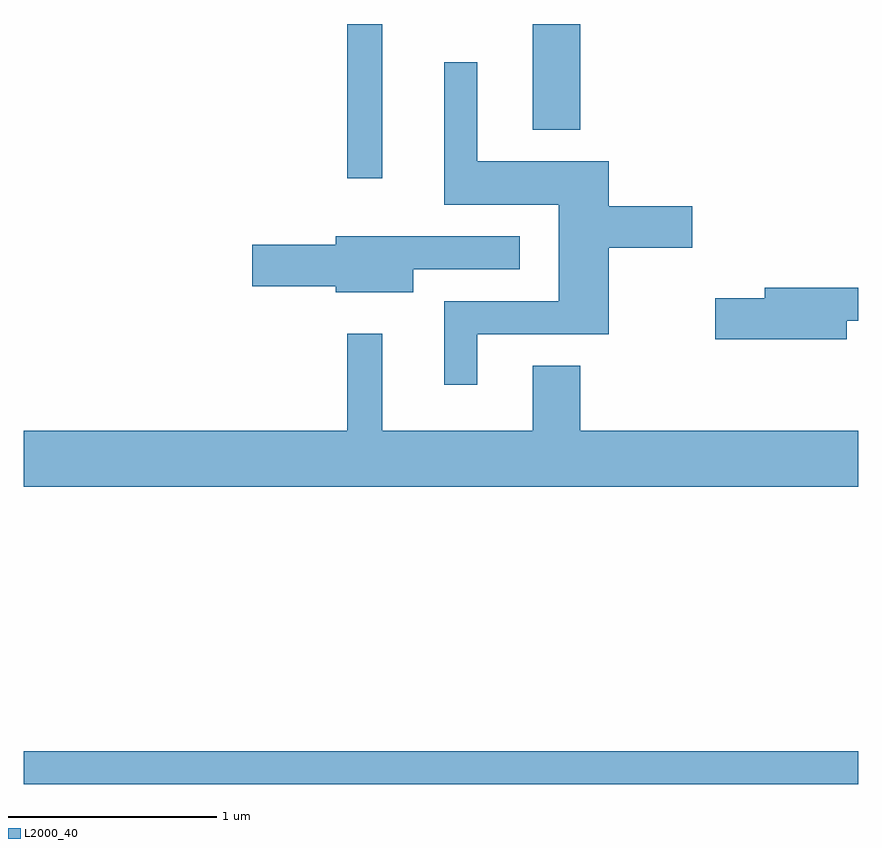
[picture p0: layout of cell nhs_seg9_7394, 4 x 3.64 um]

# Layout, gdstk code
import gdstk
lib = gdstk.Library(unit=1e-6, precision=1e-09)
def R(c, l, rs):  # rectangles x0, y0, x1, y1
    for r in rs: c.add(gdstk.rectangle(r[:2], r[2:], *l))
def P(c, l, *ps):  # polygons
    for p in ps: c.add(gdstk.Polygon(p, *l))
L2000_40 = (2000, 40)

nhs_seg9_7394 = lib.new_cell('nhs_seg9_7394')
R(nhs_seg9_7394, L2000_40, [(403.611,2034.791,407.611,2034.949), (405.161,2037.693,405.329,2038.432), (406.051,2037.926,406.279,2038.432)])
P(nhs_seg9_7394, L2000_40, [(405.784,2036.946),(406.414,2036.946),(406.414,2037.361),(406.814,2037.361),(406.814,2037.559),(406.414,2037.559),(406.414,2037.774),(405.784,2037.774),(405.784,2038.248),(405.626,2038.248),(405.626,2037.566),(406.176,2037.566),(406.176,2037.104),(405.626,2037.104),(405.626,2036.703),(405.784,2036.703)],
  [(405.479,2037.256),(405.988,2037.256),(405.988,2037.414),(405.106,2037.414),(405.106,2037.374),(404.706,2037.374),(404.706,2037.176),(405.106,2037.176),(405.106,2037.146),(405.479,2037.146)],
  [(407.554,2037.011),(407.611,2037.011),(407.611,2037.169),(407.161,2037.169),(407.161,2037.119),(406.926,2037.119),(406.926,2036.921),(407.554,2036.921)],
  [(407.611,2036.484),(406.279,2036.484),(406.279,2036.794),(406.051,2036.794),(406.051,2036.484),(405.329,2036.484),(405.329,2036.948),(405.161,2036.948),(405.161,2036.484),(403.611,2036.484),(403.611,2036.216),(407.611,2036.216)])

lib.write_gds('nhs_seg9_7394.gds')
